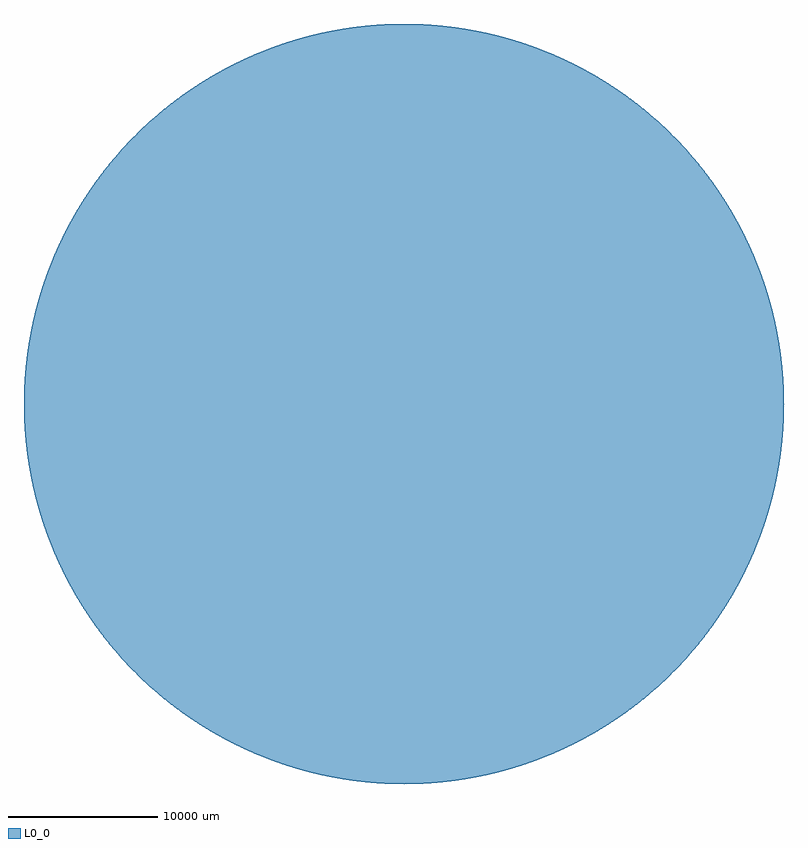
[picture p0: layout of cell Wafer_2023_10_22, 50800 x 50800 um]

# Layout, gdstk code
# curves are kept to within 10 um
import gdstk
lib = gdstk.Library(unit=1e-6, precision=1e-09)
def P(c, l, *ps):  # polygons
    for p in ps: c.add(gdstk.Polygon(p, *l))
L0_0 = (0, 0)

wafer_2023_10_22 = lib.new_cell('Wafer_2023_10_22')
P(wafer_2023_10_22, L0_0, [(10010,10010),(-10,10010),(-10,0),(0,0),(0,10000),(10000,10000),(10000,0),(0,0),(-10,0),(-10,-10),(10010,-10)],
  [(0,0),(25400,0),(25381.87,959.523),(25330.915,1872.101),(25247.159,2782.255),(25130.713,3688.806),(24981.725,4590.58),(24800.389,5486.411),(24586.94,6375.137),(24341.655,7255.609),(24122.716,7953.276),(23868.193,8687.312)],
  [(0,0),(23868.193,8687.312),(23591.339,9413.22),(23292.415,10130.322),(22971.698,10837.946),(22629.491,11535.431),(21951.2,12779.077),(21574.259,13405.646),(21179.439,14021.105),(20767.065,14624.944),(20337.482,15216.663),(19457.529,16326.805)],
  [(0,0),(19457.529,16326.805),(18765.392,17117.829),(18041.122,17879.54),(17452.687,18454.369),(16811.715,19040.122),(16186.343,19574.532),(15507.824,20116.347),(14848.286,20607.97),(14135.225,21103.445),(13444.443,21550.104),(12700,21997.045)],
  [(0,0),(12700,21997.045),(11535.431,22629.491),(10713.789,23029.866),(9836.154,23418.157),(8944.478,23773.017),(8040.032,24093.939),(7124.109,24380.465),(6242.326,24620.994),(5352.461,24829.643),(4410.664,25014.117)],
  [(0,0),(4410.664,25014.117),(3688.806,25130.713),(2645.932,25261.81),(1644.137,25346.732),(639.766,25391.942),(-365.607,25397.369),(-1370.407,25363.004),(-2418.559,25284.592),(-3417.289,25169.071),(-4410.664,25014.117)],
  [(0,0),(-4410.664,25014.117),(-5352.461,24829.643),(-6242.326,24620.994),(-7124.109,24380.465),(-8040.032,24093.939),(-8944.478,23773.017),(-9836.154,23418.157),(-10713.789,23029.866),(-11535.431,22629.491),(-12700,21997.045)],
  [(0,0),(-12700,21997.045),(-13405.646,21574.259),(-14097.231,21128.845),(-14774.03,20661.269),(-15435.333,20172.023),(-16045.043,19690.521),(-16674.245,19160.625),(-17285.957,18610.633),(-17879.54,18041.122),(-18703.67,17185.247),(-19457.529,16326.805)],
  [(0,0),(-19457.529,16326.805),(-20337.482,15216.663),(-20767.065,14624.944),(-21179.439,14021.105),(-21574.259,13405.646),(-21951.2,12779.077),(-22629.491,11535.431),(-22971.698,10837.946),(-23292.415,10130.322),(-23591.339,9413.22),(-23868.193,8687.312)],
  [(0,0),(-23868.193,8687.312),(-24122.716,7953.276),(-24341.655,7255.609),(-24586.94,6375.137),(-24800.389,5486.411),(-24981.725,4590.58),(-25130.713,3688.806),(-25247.159,2782.255),(-25330.915,1872.101),(-25381.87,959.523),(-25400,0)],
  [(0,0),(-25400,0),(-25381.87,-959.523),(-25330.915,-1872.101),(-25247.159,-2782.255),(-25130.713,-3688.806),(-24981.725,-4590.58),(-24800.389,-5486.411),(-24586.94,-6375.137),(-24341.655,-7255.609),(-24122.716,-7953.276),(-23868.193,-8687.312)],
  [(0,0),(-23868.193,-8687.312),(-23591.339,-9413.22),(-23292.415,-10130.322),(-22971.698,-10837.946),(-22629.491,-11535.431),(-21951.2,-12779.077),(-21574.259,-13405.646),(-21179.439,-14021.105),(-20767.065,-14624.944),(-20337.482,-15216.663),(-19457.529,-16326.805)],
  [(0,0),(-19457.529,-16326.805),(-18765.392,-17117.829),(-18041.122,-17879.54),(-17452.687,-18454.369),(-16811.715,-19040.122),(-16186.343,-19574.532),(-15507.824,-20116.347),(-14848.286,-20607.97),(-14135.225,-21103.445),(-13444.443,-21550.104),(-12700,-21997.045)],
  [(0,0),(-12700,-21997.045),(-11535.431,-22629.491),(-10713.789,-23029.866),(-9836.154,-23418.157),(-8944.478,-23773.017),(-8040.032,-24093.939),(-7124.109,-24380.465),(-6242.326,-24620.994),(-5352.461,-24829.643),(-4410.664,-25014.117)],
  [(0,0),(-4410.664,-25014.117),(-3688.806,-25130.713),(-2645.932,-25261.81),(-1644.137,-25346.732),(-639.766,-25391.942),(365.607,-25397.369),(1370.407,-25363.004),(2418.559,-25284.592),(3417.289,-25169.071),(4410.664,-25014.117)],
  [(0,0),(4410.664,-25014.117),(5352.461,-24829.643),(6242.326,-24620.994),(7124.109,-24380.465),(8040.032,-24093.939),(8944.478,-23773.017),(9836.154,-23418.157),(10713.789,-23029.866),(11535.431,-22629.491),(12700,-21997.045)],
  [(0,0),(12700,-21997.045),(13405.646,-21574.259),(14097.231,-21128.845),(14774.03,-20661.269),(15435.333,-20172.023),(16045.043,-19690.521),(16674.245,-19160.625),(17285.957,-18610.633),(17879.54,-18041.122),(18703.67,-17185.247),(19457.529,-16326.805)],
  [(0,0),(19457.529,-16326.805),(20337.482,-15216.663),(20767.065,-14624.944),(21179.439,-14021.105),(21574.259,-13405.646),(21951.2,-12779.077),(22629.491,-11535.431),(22971.698,-10837.946),(23292.415,-10130.322),(23591.339,-9413.22),(23868.193,-8687.312)],
  [(0,0),(23868.193,-8687.312),(24122.716,-7953.276),(24341.655,-7255.609),(24586.94,-6375.137),(24800.389,-5486.411),(24981.725,-4590.58),(25130.713,-3688.806),(25247.159,-2782.255),(25330.915,-1872.101),(25381.87,-959.523),(25400,0)])

lib.write_gds('Wafer_2023_10_22.gds')
